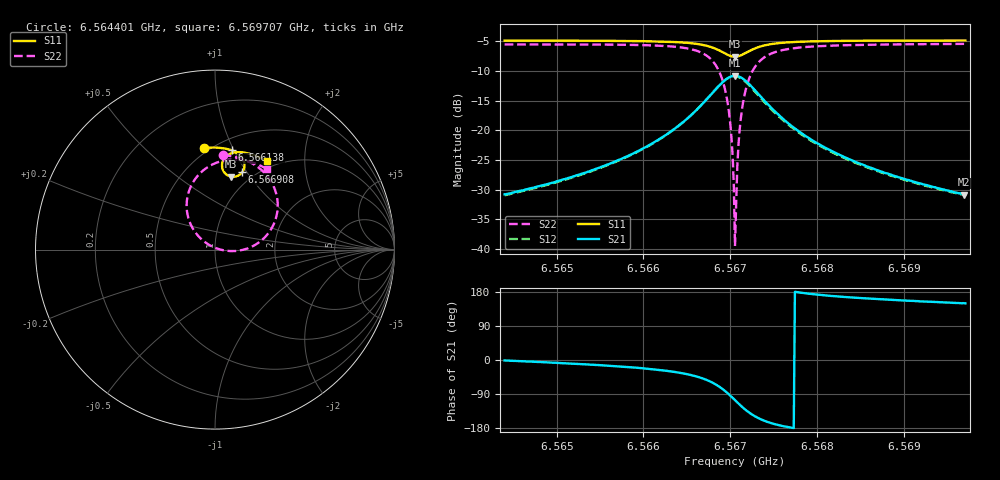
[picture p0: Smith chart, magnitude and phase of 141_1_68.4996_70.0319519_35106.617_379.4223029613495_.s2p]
#  HZ  S  RI  R  50.00
! Rohde & Schwarz Vector Network Analyzer
! Rohde-Schwarz,ZNB20-2Port,1311601062101988,3.16
! Created: UTC 3/20/2024, 4:54:52 PM
! freq[Hz]  re:S11  im:S11  re:S21  im:S21  re:S12  im:S12  re:S22  im:S22
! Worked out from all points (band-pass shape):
!   401 points, 6.564401 GHz to 6.569707 GHz, reference 50 ohm
!   highest |S21| = -10.82 dB at 6.567054 GHz (marker M1); lowest = -30.9 dB at 6.569693 GHz (marker M2)
!   |S21| within 3 dB of the highest: 6.566788 GHz to 6.567319 GHz (530.8 kHz wide, 0.00808 % of centre)
!   lowest |S11| = -7.6 dB at 6.567054 GHz (marker M3), VSWR 2.43, Z = 41.4 + j40.8 ohm
!   |S11| at or under -10 dB: nowhere
!   |S22| runs from -39.6 to -5.4 dB; largest |S21 - S12| = 0.014
!   S11 on the Smith chart (normalised r, x): 6.564401 GHz: 0.47, +0.79; 6.566138 GHz: 0.61, +0.98; 6.566908 GHz: 0.87, +0.95; 6.569707 GHz: 0.90, +1.32
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6.5644008e9  -0.0589 0.5662  0.0288 -0.000602  0.0282 -0.00103  0.0426 0.5265
6.5652895e9  0.0142 0.5679  0.0421 -0.0082  0.0415 -0.00874  0.128 0.5123
6.5661385e9  0.0945 0.5528  0.0728 -0.0341  0.0717 -0.0349  0.2422 0.4575
6.5661782e9  0.0988 0.5511  0.0752 -0.0368  0.0741 -0.0377  0.2492 0.4517
6.5666956e9  0.1592 0.4965  0.1109 -0.1312  0.1081 -0.1339  0.3486 0.2681
6.5668149e9  0.164 0.4632  0.0997 -0.1897  0.0949 -0.1933  0.3333 0.1565
6.5669078e9  0.1514 0.4307  0.0605 -0.245  0.0518 -0.2481  0.2614 0.0532
6.5669874e9  0.1217 0.409  -0.00737 -0.2792  -0.0194 -0.2783  0.1363 -0.00531
6.5670139e9  0.1085 0.406  -0.0356 -0.2823  -0.0483 -0.2794  0.085 -0.00819
6.5670272e9  0.1016 0.4055  -0.0504 -0.2818  -0.063 -0.2778  0.0589 -0.00591
6.5670404e9  0.0945 0.406  -0.065 -0.2798  -0.0775 -0.2748  0.0332 -0.000822
6.5670537e9  0.0877 0.407  -0.0795 -0.2764  -0.0915 -0.2703  0.00786 0.007
6.5670802e9  0.0744 0.4117  -0.1068 -0.2654  -0.1181 -0.2571  -0.039 0.0301
6.5671068e9  0.0628 0.419  -0.1312 -0.2496  -0.1406 -0.2395  -0.0794 0.0614
6.5671333e9  0.0532 0.4284  -0.1512 -0.2303  -0.1589 -0.219  -0.1113 0.0981
6.5671863e9  0.0417 0.4503  -0.1772 -0.1866  -0.181 -0.1746  -0.1491 0.1784
6.5672527e9  0.0395 0.4769  -0.1869 -0.1342  -0.187 -0.1235  -0.1568 0.2708
6.5675047e9  0.0777 0.5308  -0.1433 -0.0281  -0.1401 -0.0239  -0.0557 0.4491
6.5679424e9  0.1407 0.5432  -0.0818 0.00862  -0.0799 0.00991  0.0825 0.5008
6.5688311e9  0.2243 0.5234  -0.0398 0.0153  -0.0389 0.0155  0.2132 0.4836
6.5696933e9  0.2886 0.4927  -0.0248 0.0144  -0.0243 0.0146  0.2902 0.4486
6.5697066e9  0.2895 0.4922  -0.0248 0.0146  -0.0241 0.0146  0.2914 0.448
